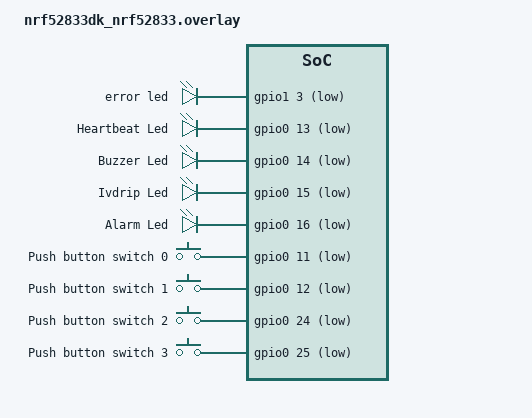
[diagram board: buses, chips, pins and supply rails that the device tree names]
// To get started, press Ctrl+Space to bring up the completion menu and view the available nodes.

// You can also use the buttons in the sidebar to perform actions on nodes.
// Actions currently available include:

// * Enabling / disabling the node
// * Adding the bus to a bus
// * Removing the node
// * Connecting ADC channels

// For more help, browse the DeviceTree documentation at https://docs.zephyrproject.org/latest/guides/dts/index.html
// You can also visit the nRF DeviceTree extension documentation at https://nrfconnect.github.io/vscode-nrf-connect/devicetree/nrfdevicetree.html
/ {
    aliases {
        heartbeat = &led0;
        buzzer = &led1;
        ivdrip = &led2;
        alarmled = &led3;
        error = &error;

        button0 = &button0;
        button1 = &button1;
        button2 = &button2;
        button3 = &button3;
    };

    leds {
        compatible = "gpio-leds";
        error: error_led {
            gpios = <&gpio1 3 GPIO_ACTIVE_LOW>;
            label = "error led";
        };
        led0: led_0 {
			gpios = <&gpio0 13 GPIO_ACTIVE_LOW>;
			label = "Heartbeat Led";
		};
		led1: led_1 {
			gpios = <&gpio0 14 GPIO_ACTIVE_LOW>;
			label = "Buzzer Led";
		};
		led2: led_2 {
			gpios = <&gpio0 15 GPIO_ACTIVE_LOW>;
			label = "Ivdrip Led";
		};
		led3: led_3 {
			gpios = <&gpio0 16 GPIO_ACTIVE_LOW>;
			label = "Alarm Led";
		};
    };
    buttons {
        button0: button_0 {
			gpios = <&gpio0 11 (GPIO_PULL_UP | GPIO_ACTIVE_LOW)>;
			label = "Push button switch 0";
		};
		button1: button_1 {
			gpios = <&gpio0 12 (GPIO_PULL_UP | GPIO_ACTIVE_LOW)>;
			label = "Push button switch 1";
		};
		button2: button_2 {
			gpios = <&gpio0 24 (GPIO_PULL_UP | GPIO_ACTIVE_LOW)>;
			label = "Push button switch 2";
		};
		button3: button_3 {
			gpios = <&gpio0 25 (GPIO_PULL_UP | GPIO_ACTIVE_LOW)>;
			label = "Push button switch 3";
		};
    };
};
